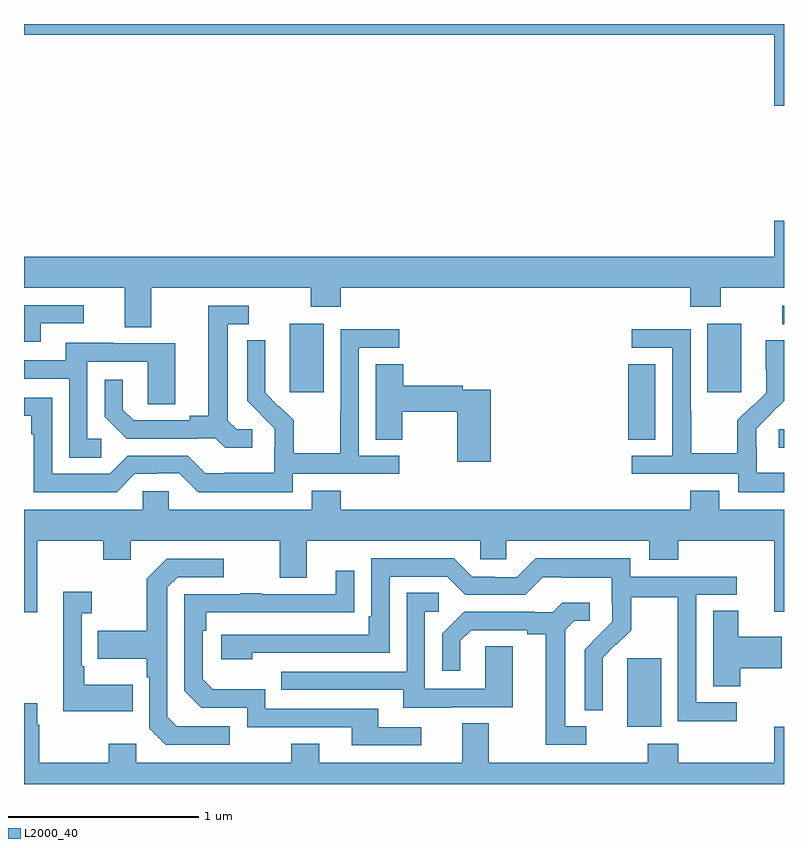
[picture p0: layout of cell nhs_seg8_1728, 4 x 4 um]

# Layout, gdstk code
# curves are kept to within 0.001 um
import gdstk
lib = gdstk.Library(unit=1e-6, precision=1e-09)
def R(c, l, rs):  # rectangles x0, y0, x1, y1
    for r in rs: c.add(gdstk.rectangle(r[:2], r[2:], *l))
def P(c, l, *ps):  # polygons
    for p in ps: c.add(gdstk.Polygon(p, *l))
L2000_40 = (2000, 40)

nhs_seg8_1728 = lib.new_cell('nhs_seg8_1728')
R(nhs_seg8_1728, L2000_40, [(224.174,1102.202,224.353,1102.563), (224.973,1103.669,225,1103.766), (224.18,1103.713,224.323,1104.11), (222.398,1103.961,222.577,1104.322), (224.597,1103.961,224.776,1104.322), (224.991,1104.321,225,1104.417)])
P(nhs_seg8_1728, L2000_40, [(225,1105.9),(221,1105.9),(221,1105.844),(224.948,1105.844),(224.948,1105.47),(225,1105.47)],
  [(221.671,1104.512),(222.508,1104.512),(222.508,1104.413),(222.668,1104.413),(222.668,1104.512),(224.507,1104.512),(224.507,1104.413),(224.667,1104.413),(224.667,1104.512),(225,1104.512),(225,1104.865),(224.948,1104.865),(224.948,1104.676),(221,1104.676),(221,1104.512),(221.531,1104.512),(221.531,1104.304),(221.671,1104.304)],
  [(221.089,1104.324),(221.314,1104.324),(221.314,1104.42),(221,1104.42),(221,1104.228),(221.089,1104.228)],
  [(222.202,1103.766),(222.12,1103.766),(222.073,1103.813),(222.073,1104.321),(222.184,1104.321),(222.184,1104.417),(221.969,1104.417),(221.969,1103.837),(221.873,1103.837),(221.873,1103.814),(221.578,1103.814),(221.521,1103.871),(221.521,1104.028),(221.424,1104.028),(221.424,1103.834),(221.54,1103.718),(221.912,1103.718),(221.912,1103.721),(222.006,1103.721),(222.058,1103.669),(222.202,1103.669)],
  [(222.414,1103.532),(222.976,1103.532),(222.976,1103.628),(222.762,1103.628),(222.762,1104.195),(222.976,1104.195),(222.976,1104.294),(222.666,1104.294),(222.666,1103.864),(222.664,1103.864),(222.664,1103.641),(222.419,1103.641),(222.419,1103.815),(222.342,1103.892),(222.339,1103.889),(222.269,1103.96),(222.27,1104.236),(222.174,1104.236),(222.174,1103.918),(222.32,1103.77),(222.32,1103.673),(222.318,1103.673),(222.318,1103.539),(222.055,1103.539),(222.055,1103.535),(221.955,1103.535),(221.862,1103.628),(221.547,1103.628),(221.451,1103.532),(221.148,1103.532),(221.148,1103.934),(221,1103.934),(221,1103.838),(221.039,1103.838),(221.039,1103.741),(221.052,1103.741),(221.052,1103.436),(221.487,1103.436),(221.583,1103.532),(221.702,1103.532),(221.702,1103.535),(221.817,1103.535),(221.917,1103.435),(222.414,1103.435)],
  [(225,1103.539),(224.856,1103.539),(224.856,1103.673),(224.854,1103.673),(224.854,1103.77),(225,1103.918),(225,1104.236),(224.904,1104.236),(224.904,1104.082),(224.906,1104.082),(224.906,1103.96),(224.835,1103.889),(224.832,1103.892),(224.755,1103.815),(224.755,1103.641),(224.511,1103.641),(224.511,1103.864),(224.508,1103.864),(224.508,1104.294),(224.199,1104.294),(224.199,1104.195),(224.412,1104.195),(224.412,1103.628),(224.199,1103.628),(224.199,1103.532),(224.76,1103.532),(224.76,1103.435),(225,1103.435)],
  [(221.407,1103.718),(221.334,1103.718),(221.334,1104.123),(221.652,1104.123),(221.652,1103.899),(221.797,1103.899),(221.797,1104.219),(221.473,1104.219),(221.473,1104.223),(221.219,1104.223),(221.219,1104.129),(221,1104.129),(221,1104.033),(221.238,1104.033),(221.238,1103.617),(221.407,1103.617)],
  [(223.457,1103.976),(223.31,1103.976),(223.31,1103.996),(222.995,1103.996),(222.995,1104.11),(222.851,1104.11),(222.851,1103.713),(222.99,1103.713),(222.99,1103.86),(223.279,1103.86),(223.279,1103.595),(223.457,1103.595)],
  [(221.071,1103.18),(221.416,1103.18),(221.416,1103.081),(221.563,1103.081),(221.563,1103.18),(222.347,1103.18),(222.347,1102.986),(222.487,1102.986),(222.487,1103.18),(223.401,1103.18),(223.401,1103.082),(223.539,1103.082),(223.539,1103.18),(224.291,1103.18),(224.291,1103.081),(224.444,1103.081),(224.444,1103.18),(224.948,1103.18),(224.948,1102.806),(225,1102.806),(225,1103.344),(224.659,1103.344),(224.659,1103.443),(224.507,1103.443),(224.507,1103.344),(222.668,1103.344),(222.668,1103.443),(222.515,1103.443),(222.515,1103.344),(221.763,1103.344),(221.763,1103.442),(221.625,1103.442),(221.625,1103.344),(221,1103.344),(221,1102.803),(221.071,1102.803)],
  [(224.752,1102.329),(224.538,1102.329),(224.538,1102.896),(224.752,1102.896),(224.752,1102.992),(224.19,1102.992),(224.19,1103.089),(223.693,1103.089),(223.593,1102.989),(223.478,1102.989),(223.478,1102.992),(223.359,1102.992),(223.263,1103.088),(222.828,1103.088),(222.828,1102.783),(222.815,1102.783),(222.815,1102.686),(222.039,1102.686),(222.039,1102.556),(222.2,1102.556),(222.2,1102.59),(222.924,1102.59),(222.924,1102.992),(223.227,1102.992),(223.323,1102.896),(223.638,1102.896),(223.731,1102.989),(223.831,1102.989),(223.831,1102.985),(224.094,1102.985),(224.094,1102.851),(224.096,1102.851),(224.096,1102.754),(223.95,1102.606),(223.95,1102.288),(224.046,1102.288),(224.045,1102.565),(224.115,1102.635),(224.118,1102.632),(224.195,1102.709),(224.195,1102.884),(224.44,1102.884),(224.44,1102.66),(224.442,1102.66),(224.442,1102.231),(224.752,1102.231)],
  [(222.082,1102.203),(221.805,1102.203),(221.754,1102.254),(221.754,1102.935),(221.808,1102.989),(222.052,1102.989),(222.052,1103.085),(221.751,1103.085),(221.646,1102.979),(221.646,1102.707),(221.389,1102.707),(221.389,1102.559),(221.646,1102.559),(221.646,1102.463),(221.658,1102.463),(221.658,1102.194),(221.745,1102.107),(222.082,1102.107)],
  [(223.09,1102.2),(222.865,1102.2),(222.865,1102.296),(222.27,1102.296),(222.27,1102.399),(221.993,1102.399),(221.94,1102.452),(221.94,1102.706),(221.96,1102.706),(221.96,1102.803),(222.737,1102.804),(222.737,1103.023),(222.641,1103.023),(222.641,1102.899),(222.251,1102.899),(222.251,1102.904),(222.139,1102.904),(222.139,1102.899),(221.844,1102.899),(221.844,1102.392),(221.934,1102.302),(222.174,1102.302),(222.174,1102.2),(222.725,1102.2),(222.725,1102.104),(223.09,1102.104)],
  [(221.573,1102.423),(221.317,1102.423),(221.317,1102.519),(221.304,1102.519),(221.304,1102.799),(221.356,1102.799),(221.356,1102.912),(221.207,1102.912),(221.207,1102.283),(221.573,1102.283)],
  [(223.249,1102.305),(223.573,1102.305),(223.573,1102.625),(223.428,1102.625),(223.428,1102.401),(223.11,1102.401),(223.11,1102.806),(223.183,1102.806),(223.183,1102.907),(223.014,1102.907),(223.014,1102.491),(222.355,1102.491),(222.355,1102.395),(222.995,1102.395),(222.995,1102.301),(223.249,1102.301)],
  [(223.96,1102.203),(223.849,1102.203),(223.849,1102.711),(223.896,1102.758),(223.978,1102.758),(223.978,1102.855),(223.834,1102.855),(223.782,1102.803),(223.688,1102.803),(223.688,1102.806),(223.316,1102.806),(223.2,1102.69),(223.2,1102.497),(223.297,1102.497),(223.297,1102.653),(223.354,1102.71),(223.649,1102.71),(223.649,1102.688),(223.745,1102.688),(223.745,1102.107),(223.96,1102.107)],
  [(224.771,1102.51),(224.989,1102.51),(224.989,1102.675),(224.758,1102.675),(224.758,1102.811),(224.627,1102.811),(224.627,1102.414),(224.771,1102.414)],
  [(225,1102.201),(224.948,1102.201),(224.948,1102.012),(224.444,1102.012),(224.444,1102.111),(224.284,1102.111),(224.284,1102.012),(223.447,1102.012),(223.447,1102.22),(223.307,1102.22),(223.307,1102.012),(222.553,1102.012),(222.553,1102.111),(222.406,1102.111),(222.406,1102.012),(221.592,1102.012),(221.592,1102.111),(221.446,1102.111),(221.446,1102.012),(221.079,1102.012),(221.079,1102.211),(221.071,1102.211),(221.071,1102.324),(221,1102.324),(221,1101.9),(225,1101.9)])

lib.write_gds('nhs_seg8_1728.gds')
